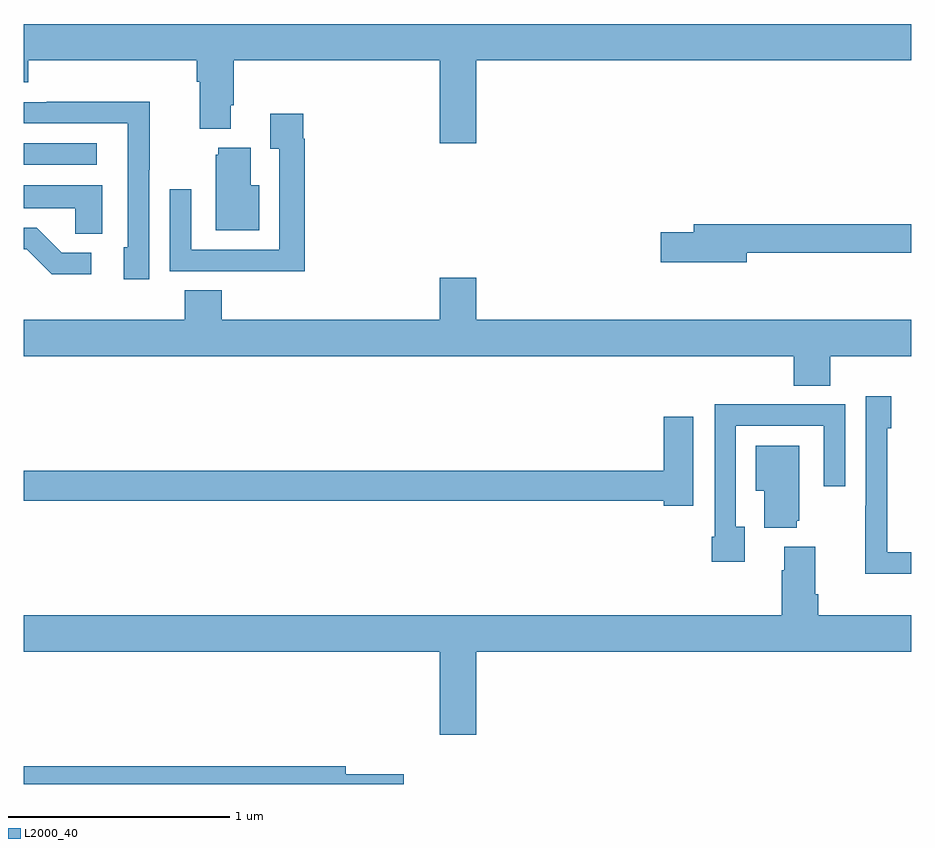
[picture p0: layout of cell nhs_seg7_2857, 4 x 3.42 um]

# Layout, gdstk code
import gdstk
lib = gdstk.Library(unit=1e-6, precision=1e-09)
def R(c, l, rs):  # rectangles x0, y0, x1, y1
    for r in rs: c.add(gdstk.rectangle(r[:2], r[2:], *l))
def P(c, l, *ps):  # polygons
    for p in ps: c.add(gdstk.Polygon(p, *l))
L2000_40 = (2000, 40)

nhs_seg7_2857 = lib.new_cell('nhs_seg7_2857')
R(nhs_seg7_2857, L2000_40, [(295,1022.79,295.33,1022.886)])
P(nhs_seg7_2857, L2000_40, [(297.04,1023.26),(299,1023.26),(299,1023.424),(295,1023.424),(295,1023.161),(295.022,1023.161),(295.022,1023.26),(295.781,1023.26),(295.781,1023.164),(295.793,1023.164),(295.793,1022.951),(295.933,1022.951),(295.933,1023.058),(295.946,1023.058),(295.946,1023.26),(296.876,1023.26),(296.876,1022.886),(297.04,1022.886)],
  [(295.566,1022.767),(295.569,1022.767),(295.569,1023.074),(295.105,1023.074),(295.105,1023.072),(295,1023.072),(295,1022.976),(295.47,1022.976),(295.47,1022.418),(295.451,1022.418),(295.451,1022.274),(295.566,1022.274)],
  [(296.267,1022.906),(296.26,1022.906),(296.26,1023.019),(296.111,1023.019),(296.111,1022.863),(296.151,1022.863),(296.151,1022.406),(295.755,1022.406),(295.755,1022.68),(295.659,1022.68),(295.659,1022.31),(295.975,1022.31),(295.975,1022.309),(296.267,1022.309)],
  [(296.062,1022.698),(296.023,1022.698),(296.023,1022.866),(295.877,1022.866),(295.877,1022.835),(295.865,1022.835),(295.865,1022.495),(296.062,1022.495)],
  [(295.354,1022.698),(295,1022.698),(295,1022.594),(295.233,1022.594),(295.233,1022.479),(295.354,1022.479)],
  [(298.258,1022.394),(299,1022.394),(299,1022.522),(298.019,1022.522),(298.019,1022.486),(297.87,1022.486),(297.87,1022.351),(298.258,1022.351)],
  [(295.306,1022.394),(295.171,1022.394),(295.06,1022.505),(295,1022.505),(295,1022.409),(295.014,1022.409),(295.127,1022.297),(295.306,1022.297)],
  [(298.634,1021.928),(299,1021.928),(299,1022.092),(297.04,1022.092),(297.04,1022.281),(296.876,1022.281),(296.876,1022.092),(295.892,1022.092),(295.892,1022.225),(295.727,1022.225),(295.727,1022.092),(295,1022.092),(295,1021.928),(298.469,1021.928),(298.469,1021.795),(298.634,1021.795)],
  [(299,1021.044),(298.89,1021.044),(298.89,1021.602),(298.909,1021.602),(298.909,1021.747),(298.794,1021.747),(298.794,1021.253),(298.792,1021.253),(298.792,1020.947),(299,1020.947)],
  [(298.249,1021.158),(298.209,1021.158),(298.209,1021.614),(298.605,1021.614),(298.605,1021.341),(298.701,1021.341),(298.701,1021.71),(298.385,1021.71),(298.385,1021.712),(298.113,1021.712),(298.113,1021.114),(298.101,1021.114),(298.101,1021.002),(298.249,1021.002)],
  [(298.018,1021.654),(297.884,1021.654),(297.884,1021.412),(295,1021.412),(295,1021.276),(297.884,1021.276),(297.884,1021.253),(298.018,1021.253)],
  [(298.484,1021.185),(298.495,1021.185),(298.495,1021.525),(298.298,1021.525),(298.298,1021.322),(298.337,1021.322),(298.337,1021.154),(298.484,1021.154)],
  [(297.04,1020.596),(299,1020.596),(299,1020.76),(298.58,1020.76),(298.58,1020.856),(298.567,1020.856),(298.567,1021.069),(298.427,1021.069),(298.427,1020.962),(298.415,1020.962),(298.415,1020.76),(295,1020.76),(295,1020.596),(296.876,1020.596),(296.876,1020.222),(297.04,1020.222)],
  [(296.713,1020.044),(296.452,1020.044),(296.452,1020.08),(295,1020.08),(295,1020),(296.713,1020)])

lib.write_gds('nhs_seg7_2857.gds')
